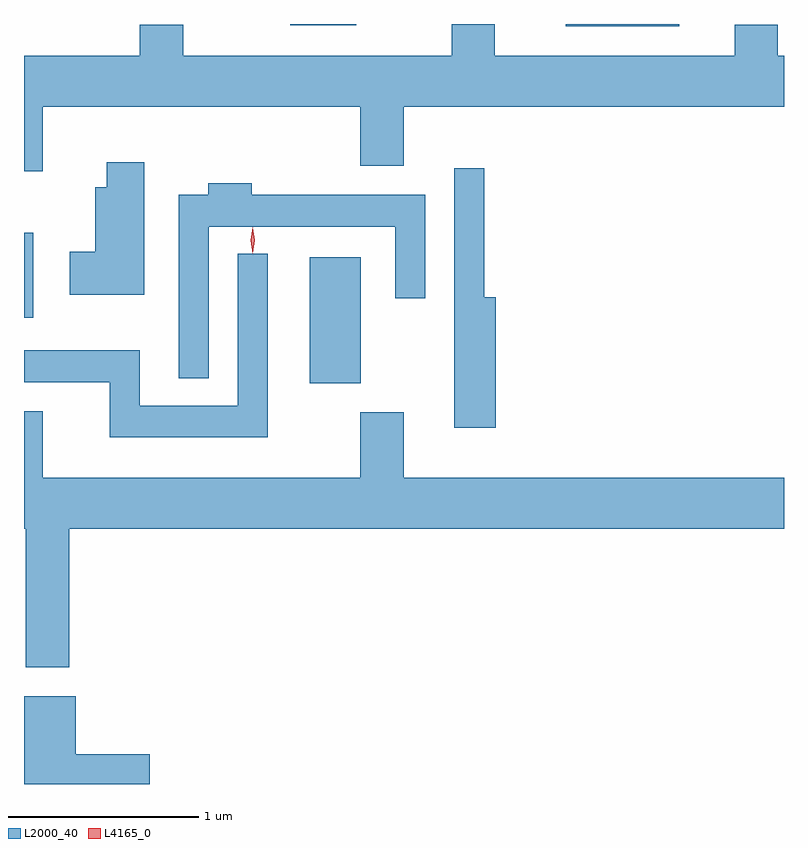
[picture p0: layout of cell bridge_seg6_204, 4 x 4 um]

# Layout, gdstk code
import gdstk
lib = gdstk.Library(unit=1e-6, precision=1e-09)
def R(c, l, rs):  # rectangles x0, y0, x1, y1
    for r in rs: c.add(gdstk.rectangle(r[:2], r[2:], *l))
def P(c, l, *ps):  # polygons
    for p in ps: c.add(gdstk.Polygon(p, *l))
L2000_40 = (2000, 40)
L4165_0 = (4165, 0)

bridge_seg6_204 = lib.new_cell('bridge_seg6_204')
R(bridge_seg6_204, L2000_40, [(1080.316,1559.681,1080.584,1560.344), (1078.811,1560.026,1078.859,1560.474), (1081.663,1561.561,1082.259,1561.572), (1080.213,1561.566,1080.559,1561.572)])
P(bridge_seg6_204, L2000_40, [(1078.909,1561.136),(1080.581,1561.136),(1080.581,1560.826),(1080.809,1560.826),(1080.809,1561.136),(1082.811,1561.136),(1082.811,1561.404),(1082.779,1561.404),(1082.779,1561.569),(1082.551,1561.569),(1082.551,1561.404),(1081.289,1561.404),(1081.289,1561.572),(1081.061,1561.572),(1081.061,1561.404),(1079.649,1561.404),(1079.649,1561.569),(1079.421,1561.569),(1079.421,1561.404),(1078.811,1561.404),(1078.811,1560.796),(1078.909,1560.796)],
  [(1079.444,1560.844),(1079.246,1560.844),(1079.246,1560.714),(1079.186,1560.714),(1079.186,1560.374),(1079.051,1560.374),(1079.051,1560.146),(1079.444,1560.146)],
  [(1081.294,1560.134),(1081.234,1560.134),(1081.234,1560.813),(1081.076,1560.813),(1081.076,1559.446),(1081.294,1559.446)],
  [(1079.784,1560.506),(1080.766,1560.506),(1080.766,1560.128),(1080.924,1560.128),(1080.924,1560.674),(1080.009,1560.674),(1080.009,1560.734),(1079.781,1560.734),(1079.781,1560.674),(1079.626,1560.674),(1079.626,1559.708),(1079.784,1559.708)],
  [(1080.094,1560.363),(1079.936,1560.363),(1079.936,1559.564),(1079.419,1559.564),(1079.419,1559.854),(1078.811,1559.854),(1078.811,1559.686),(1079.261,1559.686),(1079.261,1559.396),(1080.094,1559.396)],
  [(1079.049,1558.916),(1082.811,1558.916),(1082.811,1559.184),(1080.809,1559.184),(1080.809,1559.529),(1080.581,1559.529),(1080.581,1559.184),(1078.909,1559.184),(1078.909,1559.534),(1078.811,1559.534),(1078.811,1558.916),(1078.821,1558.916),(1078.821,1558.186),(1079.049,1558.186)],
  [(1079.474,1557.729),(1079.084,1557.729),(1079.084,1558.034),(1078.811,1558.034),(1078.811,1557.572),(1079.474,1557.572)])
P(bridge_seg6_204, L4165_0, [(1080.015,1560.367),(1080.015,1560.368),(1080.005,1560.434),(1080.015,1560.5),(1080.015,1560.501),(1080.016,1560.5),(1080.025,1560.434),(1080.016,1560.368)],
  [(1080.014,1560.364),(1080.014,1560.364),(1080.004,1560.433),(1080.014,1560.502),(1080.014,1560.503),(1080.015,1560.502),(1080.024,1560.433),(1080.015,1560.364)])

lib.write_gds('bridge_seg6_204.gds')
